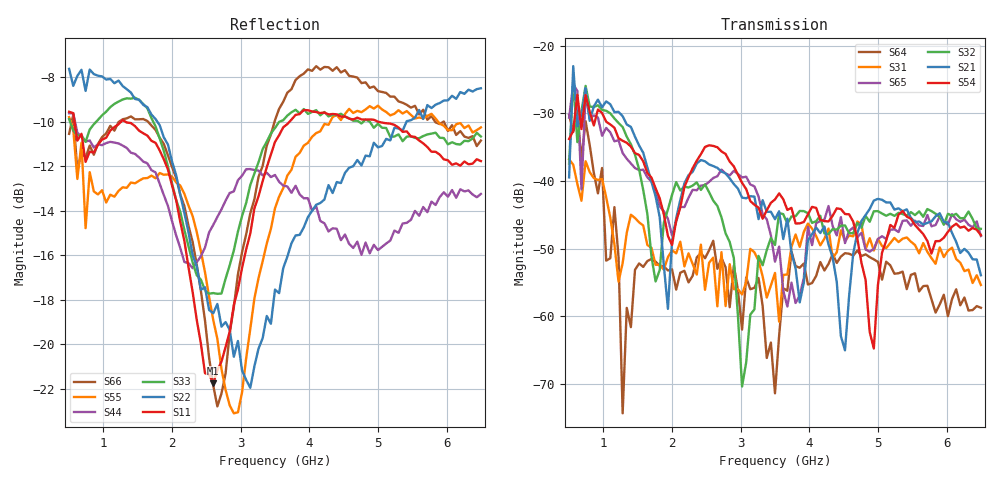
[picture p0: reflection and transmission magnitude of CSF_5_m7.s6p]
!Keysight Technologies,M9804A,MY58100912,A.14.10.03
!Date: Thursday, April 27, 2023 10:28:33
!Correction: S11(C  6-Port  )
!S12(C  6-Port  )
!S13(C  6-Port  )
!S14(C  6-Port  )
!S15(C  6-Port  )
!S16(C  6-Port  )
!S21(C  6-Port  )
!S22(C  6-Port  )
!S23(C  6-Port  )
!S24(C  6-Port  )
!S25(C  6-Port  )
!S26(C  6-Port  )
!S31(C  6-Port  )
!S32(C  6-Port  )
!S33(C  6-Port  )
!S34(C  6-Port  )
!S35(C  6-Port  )
!S36(C  6-Port  )
!S41(C  6-Port  )
!S42(C  6-Port  )
!S43(C  6-Port  )
!S44(C  6-Port  )
!S45(C  6-Port  )
!S46(C  6-Port  )
!S51(C  6-Port  )
!S52(C  6-Port  )
!S53(C  6-Port  )
!S54(C  6-Port  )
!S55(C  6-Port  )
!S56(C  6-Port  )
!S61(C  6-Port  )
!S62(C  6-Port  )
!S63(C  6-Port  )
!S64(C  6-Port  )
!S65(C  6-Port  )
!S66(C  6-Port  )
!S6P File: Measurement: :
# Hz S  RI  R 50
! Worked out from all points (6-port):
!   101 points, 500 MHz to 6.5 GHz, reference 50 ohm
!   strongest paths, dB at 500 MHz, 2 GHz, 3.5 GHz, 5 GHz, 6.5 GHz:
!     S54: -33.8, -49.5, -42.7, -55.3, -48.0
!     S21: -39.5, -48.8, -45.6, -42.6, -53.9
!     S32: -37.4, -42.0, -49.5, -44.5, -47.1
!     S65: -30.6, -48.1, -51.9, -48.6, -48.1
!     S31: -36.8, -50.2, -53.6, -48.6, -55.4
!     S64: -30.2, -53.1, -71.4, -52.0, -58.7
!   lowest |S11| = -21.8 dB at 2.6 GHz (marker M1), VSWR 1.18, Z = 42.7 + j1.99 ohm
!   |S11| at or under -10 dB: 578.3 MHz to 1.259 GHz (680.9 MHz wide, 74.1 % of centre); 1.316 GHz to 3.714 GHz (2.397 GHz wide, 95.3 % of centre); 4.996 GHz to end of sweep
